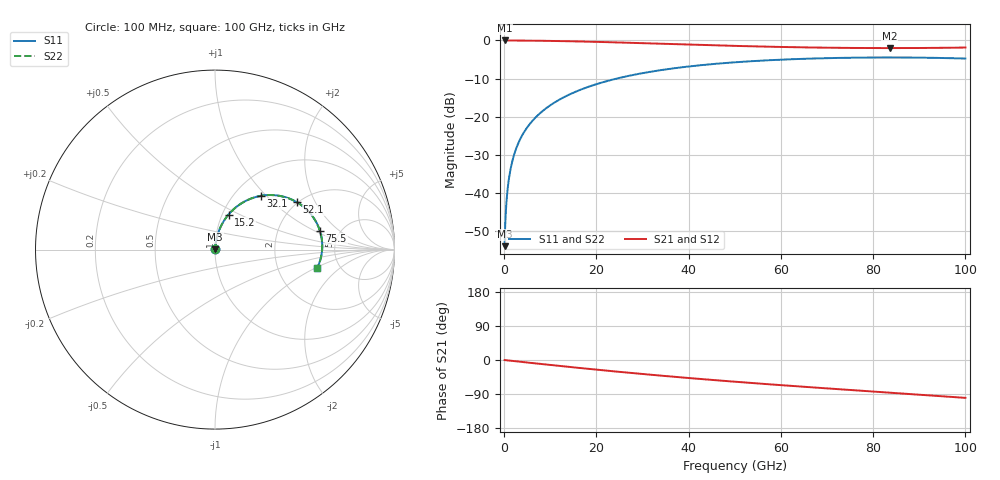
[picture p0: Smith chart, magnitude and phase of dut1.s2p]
! Touchstone file exported from HFSS 2026.1.0
!  File:  C:/ffzhzh/LocalFiles/Ansys_Project_Files/temp_train_RDL_1_1783497506_31944.aedt
!  Generated:  03:59:44 PM Jul  8, 2026
!  Design:  RDL
!  Project:  temp_train_RDL_1_1783497506_31944
! Variables:
!  h_bsmrdl = 2um
!  h_ox = 20um
!  h_rdl = 5um
!  h_sub = 80um
!  h_tmrdl = 4.58um
!  h_tsv = 80um
!  h_via = 3um
!  l_bsmrdl = 300um
!  l_sub = 720.53um
!  l_tmrdl = 320.53um
!  m_sub = 200um
!  pitch = 57.19um
!  r_tsv = 6um
!  s_tmrdl = 10um
!  w_bsmrdl = 18um
!  w_sub = 500um
!  w_tmrdl = 22.36um
!  x_tsv_center1 = 331.71um
!  x_tsv_center2 = 649.71um
!  x_tsv_center3 = 992.6um
!  x_tsv_center4 = 1310.6um
!  x_tsv_center5 = 1653.49um
!  x_tsv_center6 = 1971.49um
# GHz S MA R 50.000000
! Terminal data exported
! Port[1] = TM_RDL1_1_T1
! Port[2] = TM_RDL1_1_T2
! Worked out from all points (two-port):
!   1000 points, 100 MHz to 100 GHz, reference 50 ohm
!   highest |S21| = -0.01 dB at 100 MHz (marker M1); lowest = -2.0 dB at 83.6 GHz (marker M2)
!   |S21| within 3 dB of the highest: start of sweep to end of sweep
!   lowest |S11| = -53.9 dB at 100 MHz (marker M3), VSWR 1.00, Z = 50.1 + j0.158 ohm
!   |S11| at or under -10 dB: start of sweep to 24.36 GHz
!   |S22| runs from -53.9 to -4.5 dB; largest |S21 - S12| = 5.3e-15
!   S11 on the Smith chart (normalised r, x): 100 MHz: 1.00, +0.00; 15.2 GHz: 1.07, +0.44; 32.1 GHz: 1.31, +0.93; 52.1 GHz: 1.98, +1.45; 75.5 GHz: 3.54, +1.13; 100 GHz: 3.41, -1.03
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0.1  0.00203 51.1  0.9987 -0.1  0.9987 -0.1  0.00203 51.1
! Gamma 0 0 0 0
! Port Impedance 50 0 50 0
0.8  0.01205 81.5  0.9984 -1.1  0.9984 -1.1  0.01205 81.5
1  0.01498 82.5  0.9983 -1.3  0.9983 -1.3  0.01498 82.5
1.3  0.01938 83.3  0.9981 -1.7  0.9981 -1.7  0.01938 83.3
1.7  0.02525 83.7  0.9979 -2.3  0.9979 -2.3  0.02525 83.7
2.2  0.03256 83.6  0.9975 -2.9  0.9975 -2.9  0.03256 83.6
3.6  0.05282 82.5  0.9961 -4.8  0.9961 -4.8  0.05282 82.5
5.5  0.0798 80.4  0.9936 -7.3  0.9936 -7.3  0.0798 80.4
8.1  0.1159 77.4  0.9892 -10.6  0.9892 -10.6  0.1159 77.4
11.3  0.1589 73.6  0.9825 -14.7  0.9825 -14.7  0.1589 73.6
15.2  0.2093 68.9  0.9723 -19.6  0.9723 -19.6  0.2093 68.9
16.8  0.2292 67.0  0.9676 -21.6  0.9676 -21.6  0.2292 67.0
23.7  0.3091 59.0  0.9444 -29.8  0.9444 -29.8  0.3091 59.0
32.1  0.3922 49.7  0.9126 -39.3  0.9126 -39.3  0.3922 49.7
33.4  0.4036 48.4  0.9076 -40.7  0.9076 -40.7  0.4036 48.3
50.1  0.5177 31.9  0.8479 -57.4  0.8479 -57.4  0.5177 31.8
52.1  0.5276 30.0  0.8418 -59.2  0.8418 -59.2  0.5276 29.9
66.7  0.5789 17.3  0.8078 -72.1  0.8078 -72.1  0.579 17.2
75.5  0.594 10.0  0.7968 -79.5  0.7968 -79.5  0.594 9.9
83.4  0.5983 3.6  0.7935 -86.0  0.7935 -86.0  0.5983 3.5
83.6  0.5983 3.5  0.7935 -86.2  0.7935 -86.2  0.5983 3.3
100  0.5789 -10.0  0.8068 -99.9  0.8068 -99.9  0.5789 -10.2
